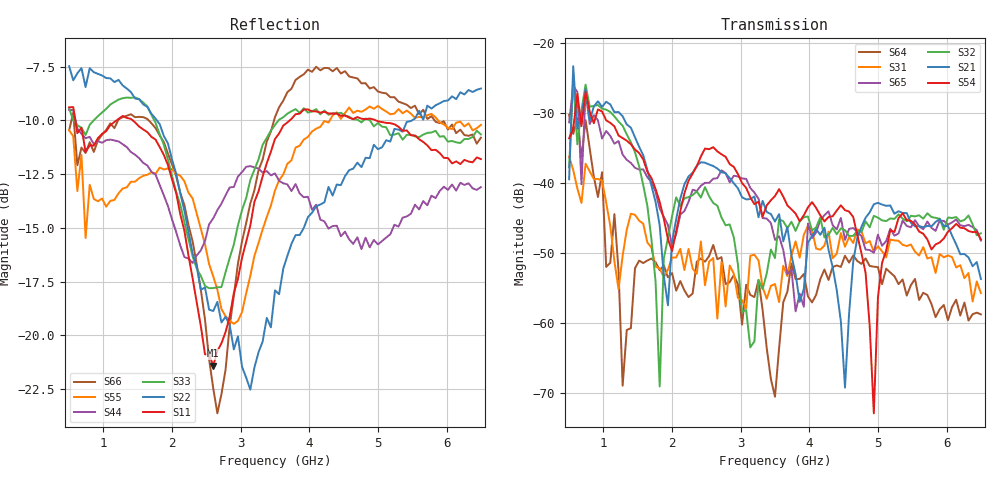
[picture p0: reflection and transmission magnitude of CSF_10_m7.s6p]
!Keysight Technologies,M9804A,MY58100912,A.14.10.03
!Date: Thursday, April 27, 2023 10:28:33
!Correction: S11(C  6-Port  )
!S12(C  6-Port  )
!S13(C  6-Port  )
!S14(C  6-Port  )
!S15(C  6-Port  )
!S16(C  6-Port  )
!S21(C  6-Port  )
!S22(C  6-Port  )
!S23(C  6-Port  )
!S24(C  6-Port  )
!S25(C  6-Port  )
!S26(C  6-Port  )
!S31(C  6-Port  )
!S32(C  6-Port  )
!S33(C  6-Port  )
!S34(C  6-Port  )
!S35(C  6-Port  )
!S36(C  6-Port  )
!S41(C  6-Port  )
!S42(C  6-Port  )
!S43(C  6-Port  )
!S44(C  6-Port  )
!S45(C  6-Port  )
!S46(C  6-Port  )
!S51(C  6-Port  )
!S52(C  6-Port  )
!S53(C  6-Port  )
!S54(C  6-Port  )
!S55(C  6-Port  )
!S56(C  6-Port  )
!S61(C  6-Port  )
!S62(C  6-Port  )
!S63(C  6-Port  )
!S64(C  6-Port  )
!S65(C  6-Port  )
!S66(C  6-Port  )
!S6P File: Measurement: :
# Hz S  RI  R 50
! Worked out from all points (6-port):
!   101 points, 500 MHz to 6.5 GHz, reference 50 ohm
!   strongest paths, dB at 500 MHz, 2 GHz, 3.5 GHz, 5 GHz, 6.5 GHz:
!     S54: -33.6, -49.7, -41.9, -56.3, -48.1
!     S21: -39.5, -48.4, -45.5, -42.8, -53.7
!     S32: -37.7, -44.7, -50.7, -44.9, -47.2
!     S65: -31.3, -49.1, -48.1, -47.4, -48.2
!     S31: -36.2, -50.7, -54.4, -49.0, -55.7
!     S64: -30.3, -52.9, -70.5, -52.0, -58.8
!   lowest |S11| = -21.4 dB at 2.6 GHz (marker M1), VSWR 1.19, Z = 42.5 + j2.2 ohm
!   |S11| at or under -10 dB: 590.4 MHz to 1.193 GHz (602.4 MHz wide, 67.6 % of centre); 1.426 GHz to 3.716 GHz (2.29 GHz wide, 89 % of centre); 4.967 GHz to end of sweep
